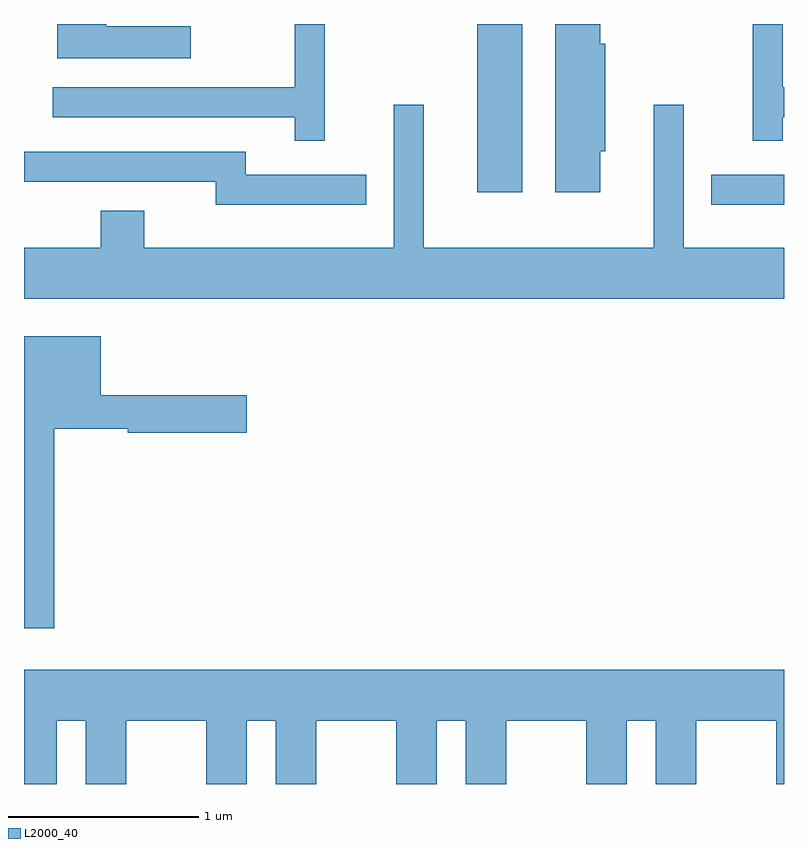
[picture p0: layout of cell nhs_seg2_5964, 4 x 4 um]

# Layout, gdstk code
import gdstk
lib = gdstk.Library(unit=1e-6, precision=1e-09)
def R(c, l, rs):  # rectangles x0, y0, x1, y1
    for r in rs: c.add(gdstk.rectangle(r[:2], r[2:], *l))
def P(c, l, *ps):  # polygons
    for p in ps: c.add(gdstk.Polygon(p, *l))
L2000_40 = (2000, 40)

nhs_seg2_5964 = lib.new_cell('nhs_seg2_5964')
R(nhs_seg2_5964, L2000_40, [(365.228,1008.851,365.611,1009.009), (363.996,1008.916,364.234,1009.802)])
P(nhs_seg2_5964, L2000_40, [(362.488,1009.789),(362.044,1009.789),(362.044,1009.802),(361.786,1009.802),(361.786,1009.621),(362.488,1009.621)],
  [(364.644,1009.131),(364.669,1009.131),(364.669,1009.699),(364.644,1009.699),(364.644,1009.802),(364.406,1009.802),(364.406,1008.916),(364.644,1008.916)],
  [(365.604,1009.311),(365.611,1009.311),(365.611,1009.469),(365.604,1009.469),(365.604,1009.802),(365.446,1009.802),(365.446,1009.188),(365.604,1009.188)],
  [(363.194,1009.802),(363.036,1009.802),(363.036,1009.469),(361.763,1009.469),(361.763,1009.311),(363.036,1009.311),(363.036,1009.188),(363.194,1009.188)],
  [(365.611,1008.624),(365.084,1008.624),(365.084,1009.378),(364.926,1009.378),(364.926,1008.624),(363.714,1008.624),(363.714,1009.378),(363.556,1009.378),(363.556,1008.624),(362.244,1008.624),(362.244,1008.819),(362.016,1008.819),(362.016,1008.624),(361.611,1008.624),(361.611,1008.356),(365.611,1008.356)],
  [(363.413,1009.009),(362.779,1009.009),(362.779,1009.129),(361.611,1009.129),(361.611,1008.971),(362.621,1008.971),(362.621,1008.851),(363.413,1008.851)],
  [(361.769,1007.671),(362.156,1007.671),(362.156,1007.651),(362.784,1007.651),(362.784,1007.849),(362.014,1007.849),(362.014,1008.159),(361.611,1008.159),(361.611,1006.623),(361.769,1006.623)],
  [(361.784,1006.136),(361.936,1006.136),(361.936,1005.802),(362.149,1005.802),(362.149,1006.136),(362.571,1006.136),(362.571,1005.802),(362.784,1005.802),(362.784,1006.136),(362.936,1006.136),(362.936,1005.802),(363.149,1005.802),(363.149,1006.136),(363.571,1006.136),(363.571,1005.802),(363.784,1005.802),(363.784,1006.136),(363.936,1006.136),(363.936,1005.802),(364.149,1005.802),(364.149,1006.136),(364.571,1006.136),(364.571,1005.802),(364.784,1005.802),(364.784,1006.136),(364.936,1006.136),(364.936,1005.802),(365.149,1005.802),(365.149,1006.136),(365.571,1006.136),(365.571,1005.802),(365.611,1005.802),(365.611,1006.404),(361.611,1006.404),(361.611,1005.802),(361.784,1005.802)])

lib.write_gds('nhs_seg2_5964.gds')
